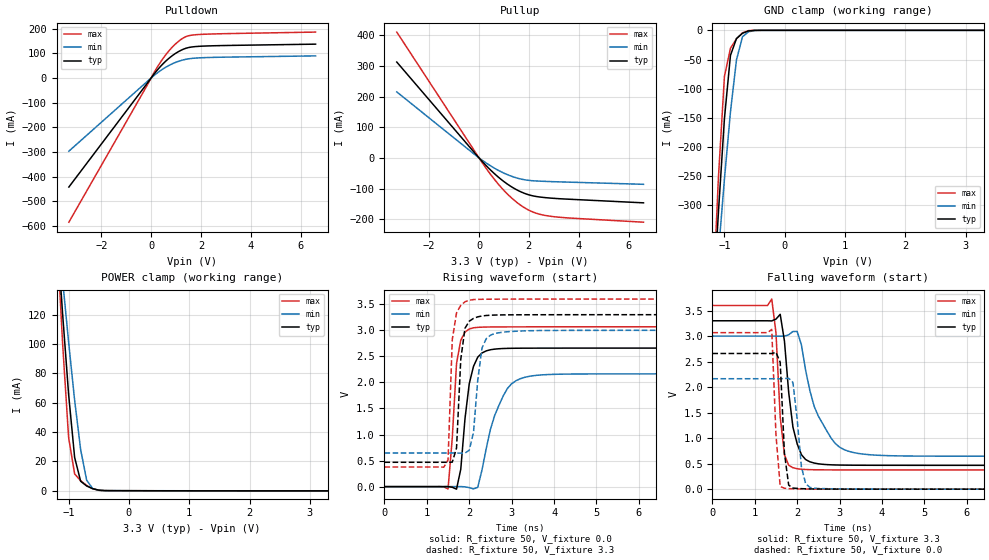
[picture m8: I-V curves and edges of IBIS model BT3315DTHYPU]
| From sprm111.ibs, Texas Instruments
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[Model]   BT3315DTHYPU
Model_type   I/O
Vinh = 2.00
Vinl = 0.80
Enable   Active-Low
Polarity   Non-Inverting
| signals   A, GZ, Y
Vmeas = 1.5
|   typ   min   max
C_comp   1.5797p   1.5046p   1.7659p
|   typ   min   max
[Temperature Range]   25   -40   125
|   typ   min   max
[Voltage Range]   3.30V   3.00V   3.60V
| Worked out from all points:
|   slope of the pulldown table from 0 to 0.495 V, typ, clamps not added: 8.32 ohm
|   slope of the pullup table from 0 to 0.495 V, typ, clamps not added: 11.7 ohm
|   GND clamp passes 1 mA (typ) near -0.60 V on its own axis
|   POWER clamp passes 1 mA (typ) near -0.56 V on its own axis
|   rising waveform, R_fixture 50, V_fixture 0.0: 20-80 % time 225ps typ, 467ps min, 153ps max; typ from 0 V to 2.66 V
|   falling waveform, R_fixture 50, V_fixture 3.3: 20-80 % time 239ps typ, 557ps min, 146ps max; typ from 3.3 V to 0.467 V
|   rising waveform, R_fixture 50, V_fixture 3.3: 20-80 % time 131ps typ, 172ps min, 104ps max; typ from 0.467 V to 3.3 V
|   falling waveform, R_fixture 50, V_fixture 0.0: 20-80 % time 107ps typ, 151ps min, 112ps max; typ from 2.66 V to 0 V
[Pulldown]
|   Voltage   I(typ)   I(min)   I(max)
-3.3V     -442.4mA   -297mA     -585.1mA
200mV     26.32mA    16.85mA    36.03mA
600mV     69.7mA     44.45mA    95.88mA
800mV     86.89mA    55.25mA    119.9mA
1.1V      107.2mA    67.8mA     148.9mA
1.4V      120.9mA    76.03mA    168.1mA
1.9V      128.4mA    81.62mA    176.5mA
6.6V      137.5mA    89.79mA    186.4mA
[GND_clamp]
|   Voltage   I(typ)   I(min)   I(max)
-3.3V     -4.679A    -3.53A     -6.074A
-1.2V     -491.5mA   -514.1mA   -484.3mA
-1.1V     -312.5mA   -381.7mA   -253.3mA
-1V       -151.4mA   -255.1mA   -79.17mA
-900mV    -42.95mA   -139.8mA   -30.75mA
-800mV    -14.03mA   -50.51mA   -14.62mA
-700mV    -5.033mA   -10.94mA   -4.188mA
-600mV    -961.3uA   -2.448mA   -466.6uA
-400mV    -4.855uA   -52.49uA   -479.3nA
3.3V      222pA      4.204uA    44.41pA
[Pullup]
|   Voltage   I(typ)   I(min)   I(max)
-3.3V     312.8mA    215.3mA    410.6mA
-200mV    18.7mA     12.62mA    24.95mA
300mV     -26.42mA   -17.41mA   -35.83mA
900mV     -71.08mA   -45.91mA   -97.39mA
1.2V      -88.97mA   -56.76mA   -122.7mA
1.5V      -103.7mA   -65.18mA   -144.2mA
1.8V      -115mA     -71.04mA   -161.5mA
2.1V      -122.8mA   -74.28mA   -174.6mA
2.7V      -130.1mA   -76.86mA   -188.5mA
3.6V      -134.9mA   -79.17mA   -196.2mA
6.6V      -146.8mA   -86.25mA   -209.9mA
[POWER_clamp]
|   Voltage   I(typ)   I(min)   I(max)
-3.3V     1.566A     1.185A     2.029A
-1.2V     180.9mA    188mA      178.7mA
-1.1V     121.1mA    143.9mA    100.9mA
-1V       65.87mA    101.4mA    36.44mA
-900mV    22.73mA    61.78mA    11.46mA
-800mV    6.428mA    27.98mA    6.813mA
-700mV    3.2mA      7.12mA     3.57mA
-600mV    1.373mA    1.452mA    1.296mA
-500mV    357.3uA    341.4uA    240.6uA
-400mV    65.6uA     67.61uA    56.84uA
3.3V      -108.3uA   -68.36uA   -162.1uA
[Ramp]
|   I(typ)   I(min)   I(max)
dV/dt_r   1.596/0.219n   1.299/0.467n   1.840/0.133n
dV/dt_f   1.700/0.234n   1.413/0.559n   1.934/0.132n
[Rising Waveform]
R_fixture = 50
V_fixture = 0.0
|  pu_on
|  TIME   V(typ)   V(min)   V(max)
0s        1nV        11nV       1nV
1.5ns     1.188mV    119.5uV    -44.73mV
1.6ns     -12.6mV    280.8uV    938.5mV
1.7ns     -48.76mV   522.6uV    2.364V
1.8ns     333.9mV    940.3uV    2.811V
2ns       1.977V     -19.15mV   3.026V
2.3ns     2.565V     319.2mV    3.061V
2.6ns     2.639V     1.367V     3.065V
3.2ns     2.657V     2.07V      3.067V
10ns      2.659V     2.164V     3.067V
[Falling Waveform]
R_fixture = 50
V_fixture = 3.3
V_fixture_min = 3.0
V_fixture_max = 3.6
|  pd_on
|  TIME   V(typ)   V(min)   V(max)
0s        3.3V       3V         3.6V
1.4ns     3.298V     3V         3.726V
1.5ns     3.333V     3V         3.07V
1.6ns     3.427V     2.998V     1.415V
1.7ns     2.902V     3V         675.2mV
1.9ns     1.216V     3.09V      420.4mV
2.1ns     675.9mV    2.829V     390.3mV
2.5ns     496.8mV    1.429V     379.6mV
3.2ns     470.2mV    745.7mV    377.3mV
10ns      467.3mV    645.6mV    376.8mV
[Rising Waveform]
R_fixture = 50
V_fixture = 3.3
V_fixture_min = 3.0
V_fixture_max = 3.6
|  pd_off
|  TIME   V(typ)   V(min)   V(max)
0s        467.3mV    645.6mV    376.8mV
1.5ns     466.6mV    646mV      512.6mV
1.6ns     470.2mV    645.7mV    2.824V
1.7ns     740.1mV    644.8mV    3.335V
1.8ns     2.444V     642.6mV    3.479V
1.9ns     3.04V      644.5mV    3.547V
2.1ns     3.228V     1.041V     3.59V
2.3ns     3.275V     2.658V     3.596V
2.6ns     3.293V     2.94V      3.598V
10ns      3.3V       3V         3.6V
[Falling Waveform]
R_fixture = 50
V_fixture = 0.0
|  pu_off
|  TIME   V(typ)   V(min)   V(max)
0s        2.659V     2.164V     3.067V
1.4ns     2.658V     2.164V     3.131V
1.5ns     2.683V     2.163V     1.068V
1.6ns     2.486V     2.164V     51.29mV
1.7ns     700.6mV    2.167V     18.36mV
1.8ns     79.16mV    2.174V     10.34mV
1.9ns     21.47mV    2.091V     6.702mV
2.1ns     9.853mV    437.2mV    3.039mV
2.3ns     5.394mV    36.04mV    1.716mV
10ns      1.515uV    3.915uV    144nV
